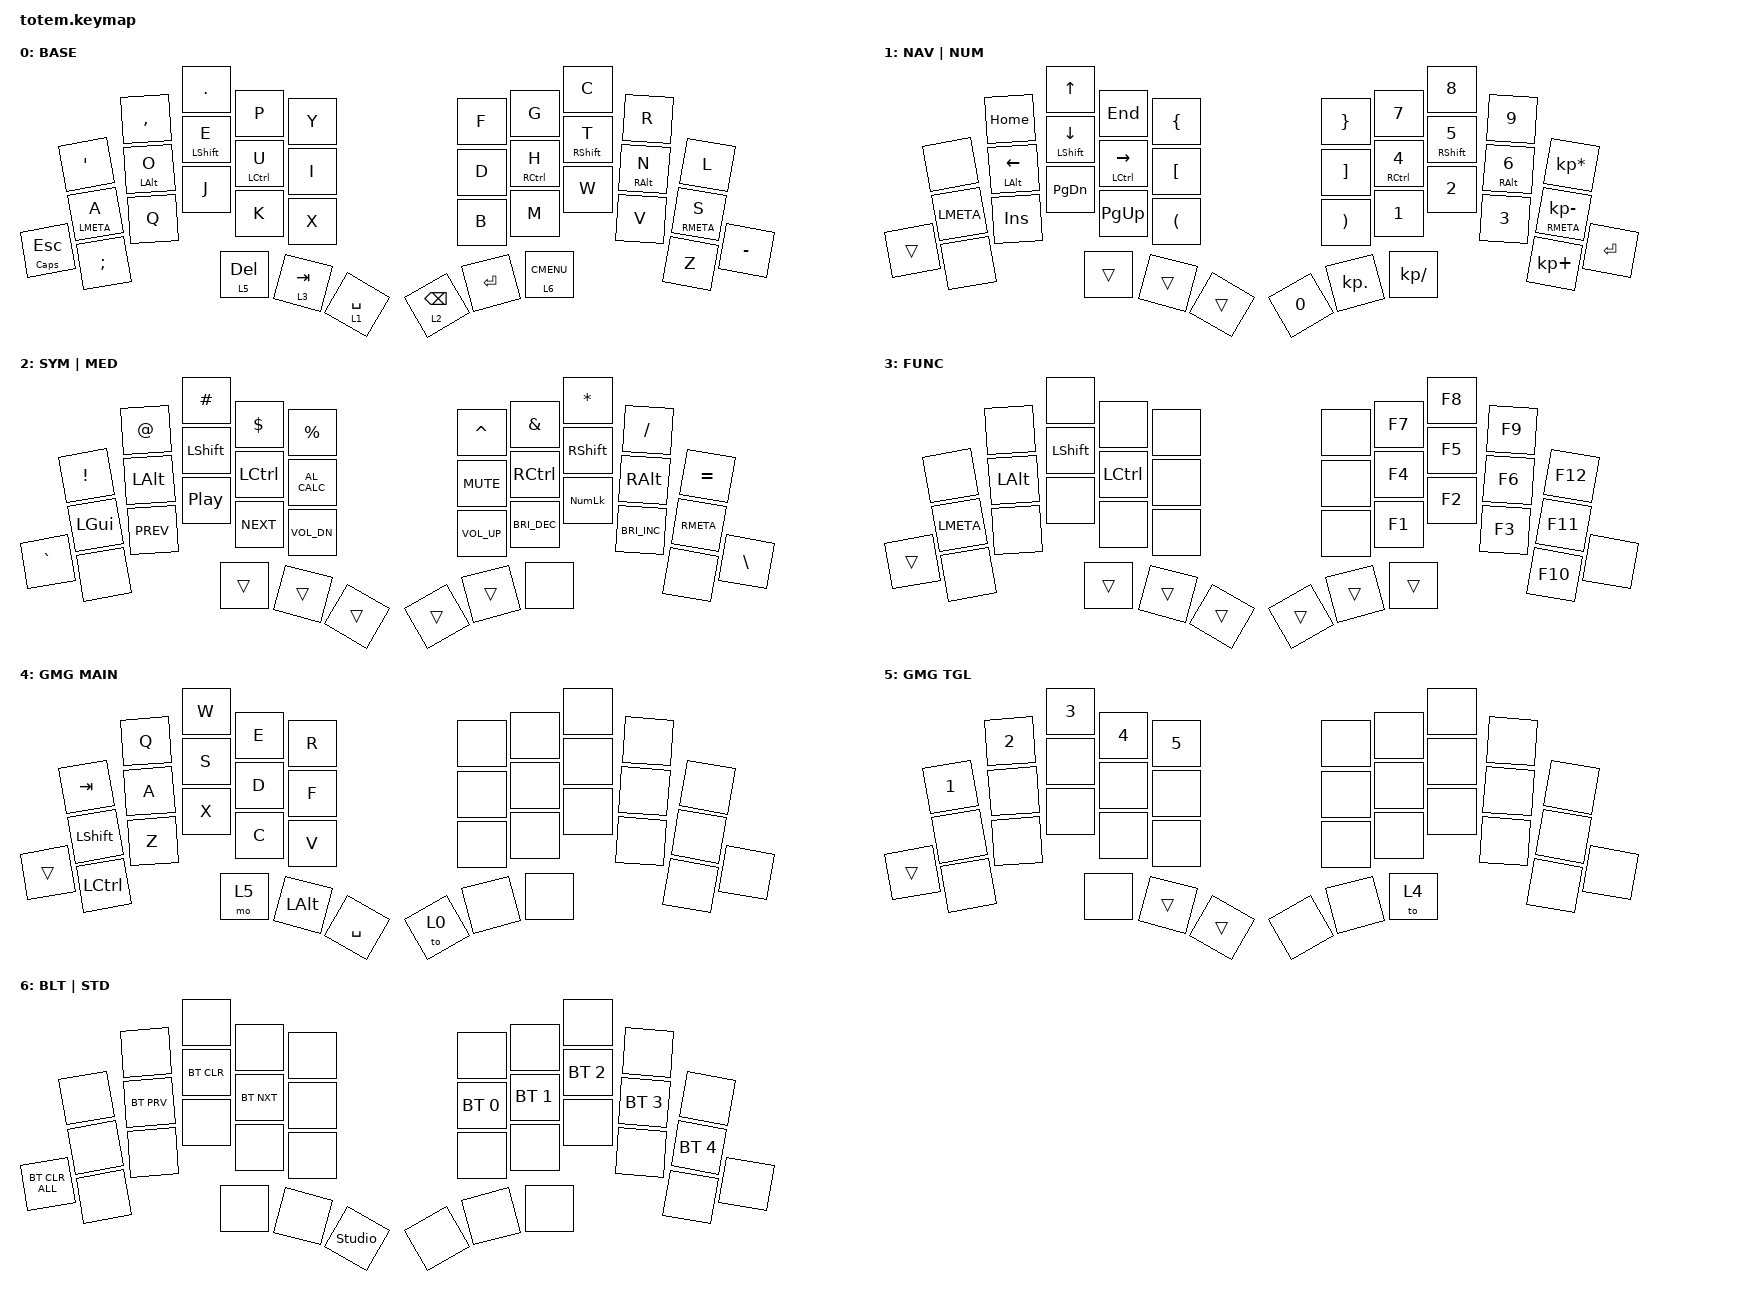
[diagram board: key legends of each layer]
//
//                                                        ▀▀▀▀▀     ▀▀▀▀▀          ▀▀█▀▀
//                                                        ▄▀▀▀▄  ▄  ▄▀▀▀▄  ▄  ▄▀▀▀▄  █  ▄▀▀▀▄
//                                                        █   █  █  █   █  █  █   █  █  █   █
//                                                         ▀▀▀   █   ▀▀▀   █   ▀▀▀   ▀   ▀▀▀
//                                                               █      ▄▄▄█▄▄▄    █   █  
//                                                               ▀      █  █  █     █▄█
//                                                             ▀▀▀▀▀    █  █  █      ▀
//                                                                      ▀  ▀  ▀
//
// ▄▄▄▄▄▄▄▄▄▄▄▄▄▄▄▄▄▄▄▄▄▄▄▄▄▄▄▄▄▄▄▄▄▄▄▄▄▄▄▄▄▄▄▄▄▄▄▄▄▄▄▄▄▄▄▄▄▄▄▄▄▄▄▄▄▄▄▄▄▄▄▄▄▄▄▄▄▄▄▄▄▄▄▄▄▄▄▄▄▄▄▄▄▄▄▄▄▄▄▄▄▄▄▄▄▄▄▄▄▄▄▄▄▄▄▄▄▄▄▄▄▄▄▄▄▄▄▄▄▄▄▄▄▄▄▄▄▄▄▄▄▄▄▄▄▄▄▄▄

#include <behaviors.dtsi>
#include <dt-bindings/zmk/bt.h>
#include <dt-bindings/zmk/keys.h>

#define BASE 0
#define NAV  1
#define SYM  2
#define ADJ  3
#define TVP1 4
#define TVP2 5

&mt {
    flavor = "tap-preferred";
    tapping-term-ms = <150>;
};

/ {
    combos { compatible = "zmk,combos"; };

    keymap {
        compatible = "zmk,keymap";

        // ▄▄▄▄▄▄▄▄▄▄▄▄▄▄▄▄▄▄▄▄▄▄▄▄▄▄▄▄▄▄▄▄▄▄▄▄▄▄▄▄▄▄▄▄▄▄▄▄▄▄▄▄▄▄▄▄▄▄▄▄▄▄▄▄▄▄▄▄▄▄▄▄▄▄▄▄▄▄▄▄▄▄▄▄▄▄▄▄▄▄▄▄▄▄▄▄▄▄▄▄▄▄▄▄▄▄▄▄▄▄▄▄▄▄▄▄▄▄▄▄▄▄▄▄▄▄▄▄▄▄▄▄▄▄▄▄▄▄▄▄▄▄▄▄▄▄▄▄▄

        base_layer {
            // ┏━━━━━━━━━━━━━━━━━━━━━━━━━━━━━━━━━━━━━━━┓

            label = "BASE";

            // ┗━━━━━━━━━━━━━━━━━━━━━━━━━━━━━━━━━━━━━━━┛
            //             ┏━━━━━━━━━━━┳━━━━━━━━━━━┳━━━━━━━━━━━┳━━━━━━━━━━━┳━━━━━━━━━━━┓   ┏━━━━━━━━━━━┳━━━━━━━━━━━┳━━━━━━━━━━━┳━━━━━━━━━━━┳━━━━━━━━━━━┓
            //             ┃     Q     ┃     W     ┃     F     ┃     P     ┃     G     ┃   ┃     J     ┃     L     ┃     U     ┃     Y     ┃     ;     ┃
            //             ┣━━━━━━━━━━━╋━━━━━━━━━━━╋━━━━━━━━━━━╋━━━━━━━━━━━╋━━━━━━━━━━━┫   ┣━━━━━━━━━━━╋━━━━━━━━━━━╋━━━━━━━━━━━╋━━━━━━━━━━━╋━━━━━━━━━━━┫
            //             ┃     A     ┃     R     ┃     S     ┃     T     ┃     D     ┃   ┃     H     ┃     N     ┃     E     ┃     I     ┃     O     ┃
            // ┏━━━━━━━━━━━╋━━━━━━━━━━━╋━━━━━━━━━━━╋━━━━━━━━━━━╋━━━━━━━━━━━╋━━━━━━━━━━━┫   ┣━━━━━━━━━━━╋━━━━━━━━━━━╋━━━━━━━━━━━╋━━━━━━━━━━━╋━━━━━━━━━━━╋━━━━━━━━━━━┓
            // ┃     Q     ┃     Z     ┃     X     ┃     C     ┃     V     ┃     B     ┃   ┃     K     ┃     M     ┃     ,     ┃     .     ┃     /     ┃     \     ┃
            // ┗━━━━━━━━━━━┻━━━━━━━━━━━┻━━━━━━━━━━━╋━━━━━━━━━━━╋━━━━━━━━━━━╋━━━━━━━━━━━┫   ┣━━━━━━━━━━━╋━━━━━━━━━━━╋━━━━━━━━━━━╋━━━━━━━━━━━┻━━━━━━━━━━━┻━━━━━━━━━━━┛
            //                                     ┃    DEL    ┃    TAB    ┃    SPC    ┃   ┃   ENTER   ┃           ┃   BSPC    ┃
            //                                     ┗━━━━━━━━━━━┻━━━━━━━━━━━┻━━━━━━━━━━━┛   ┗━━━━━━━━━━━┻━━━━━━━━━━━┻━━━━━━━━━━━┛

            bindings = <
              &kp SQT      &kp COMMA   &kp DOT      &kp P        &kp Y          &kp F       &kp G        &kp C          &kp R       &kp L
              &mt LMETA A  &mt LALT O  &mt LSHFT E  &mt LCTRL U  &kp I          &kp D       &mt RCTRL H  &mt RSHIFT T   &mt RALT N  &mt RMETA S
&mt CLCK ESC  &kp SEMI     &kp Q       &kp J        &kp K        &kp X          &kp B       &kp M        &kp W          &kp V       &kp Z        &kp MINUS
                                       &lt 5 DEL    &lt 3 TAB    &lt 1 SPACE    &lt 2 BSPC  &kp ENTER    &lt 6 K_CMENU
            >;
        };

        // ▄▄▄▄▄▄▄▄▄▄▄▄▄▄▄▄▄▄▄▄▄▄▄▄▄▄▄▄▄▄▄▄▄▄▄▄▄▄▄▄▄▄▄▄▄▄▄▄▄▄▄▄▄▄▄▄▄▄▄▄▄▄▄▄▄▄▄▄▄▄▄▄▄▄▄▄▄▄▄▄▄▄▄▄▄▄▄▄▄▄▄▄▄▄▄▄▄▄▄▄▄▄▄▄▄▄▄▄▄▄▄▄▄▄▄▄▄▄▄▄▄▄▄▄▄▄▄▄▄▄▄▄▄▄▄▄▄▄▄▄▄▄▄▄▄▄▄▄▄

        nav_num_layer {
            // ┏━━━━━━━━━━━━━━━━━━━━━━━━━━━━━━━━━━━━━━━┓

            label = "NAV | NUM";

            // ┗━━━━━━━━━━━━━━━━━━━━━━━━━━━━━━━━━━━━━━━┛
            //             ┏━━━━━━━━━━━┳━━━━━━━━━━━┳━━━━━━━━━━━┳━━━━━━━━━━━┳━━━━━━━━━━━┓   ┏━━━━━━━━━━━┳━━━━━━━━━━━┳━━━━━━━━━━━┳━━━━━━━━━━━┳━━━━━━━━━━━┓
            //             ┃           ┃           ┃     UP    ┃           ┃     {     ┃   ┃     }     ┃     7     ┃     8     ┃     9     ┃     +     ┃
            //             ┣━━━━━━━━━━━╋━━━━━━━━━━━╋━━━━━━━━━━━╋━━━━━━━━━━━╋━━━━━━━━━━━┫   ┣━━━━━━━━━━━╋━━━━━━━━━━━╋━━━━━━━━━━━╋━━━━━━━━━━━╋━━━━━━━━━━━┫
            //             ┃   SHIFT   ┃   LEFT    ┃    DOWN   ┃   RIGHT   ┃     [     ┃   ┃     ]     ┃     4     ┃     5     ┃     6     ┃     -     ┃
            // ┏━━━━━━━━━━━╋━━━━━━━━━━━╋━━━━━━━━━━━╋━━━━━━━━━━━╋━━━━━━━━━━━╋━━━━━━━━━━━┫   ┣━━━━━━━━━━━╋━━━━━━━━━━━╋━━━━━━━━━━━╋━━━━━━━━━━━╋━━━━━━━━━━━╋━━━━━━━━━━━┓
            // ┃           ┃           ┃   P UP    ┃  C LOCK   ┃  P DOWN   ┃     (     ┃   ┃     )     ┃     1     ┃     2     ┃     3     ┃     *     ┃           ┃
            // ┗━━━━━━━━━━━┻━━━━━━━━━━━┻━━━━━━━━━━━╋━━━━━━━━━━━╋━━━━━━━━━━━╋━━━━━━━━━━━┫   ┣━━━━━━━━━━━╋━━━━━━━━━━━╋━━━━━━━━━━━╋━━━━━━━━━━━┻━━━━━━━━━━━┻━━━━━━━━━━━┛
            //                                     ┃           ┃    TAB    ┃    SPC    ┃   ┃    DEL    ┃     0     ┃           ┃
            //                                     ┗━━━━━━━━━━━┻━━━━━━━━━━━┻━━━━━━━━━━━┛   ┗━━━━━━━━━━━┻━━━━━━━━━━━┻━━━━━━━━━━━┛

            bindings = <
        &none      &kp HOME       &kp UP           &kp END          &kp LEFT_BRACE          &kp RIGHT_BRACE        &kp N7        &kp N8         &kp N9       &kp KP_ASTERISK
        &kp LMETA  &mt LALT LEFT  &mt LSHIFT DOWN  &mt LCTRL RIGHT  &kp LBKT                &kp RBKT               &mt RCTRL N4  &mt RSHIFT N5  &mt RALT N6  &mt RMETA KP_MINUS
&trans  &none      &kp INSERT     &kp PG_DN        &kp PG_UP        &kp LEFT_PARENTHESIS    &kp RIGHT_PARENTHESIS  &kp N1        &kp N2         &kp N3       &kp KP_PLUS         &kp RET
                                  &trans           &trans           &trans                  &kp N0                 &kp KP_DOT    &kp KP_SLASH
            >;
        };

        // ▄▄▄▄▄▄▄▄▄▄▄▄▄▄▄▄▄▄▄▄▄▄▄▄▄▄▄▄▄▄▄▄▄▄▄▄▄▄▄▄▄▄▄▄▄▄▄▄▄▄▄▄▄▄▄▄▄▄▄▄▄▄▄▄▄▄▄▄▄▄▄▄▄▄▄▄▄▄▄▄▄▄▄▄▄▄▄▄▄▄▄▄▄▄▄▄▄▄▄▄▄▄▄▄▄▄▄▄▄▄▄▄▄▄▄▄▄▄▄▄▄▄▄▄▄▄▄▄▄▄▄▄▄▄▄▄▄▄▄▄▄▄▄▄▄▄▄▄▄

        sym_media_layer {
            // ┏━━━━━━━━━━━━━━━━━━━━━━━━━━━━━━━━━━━━━━━┓

            label = "SYM | MED";

            // ┗━━━━━━━━━━━━━━━━━━━━━━━━━━━━━━━━━━━━━━━┛
            //             ┏━━━━━━━━━━━┳━━━━━━━━━━━┳━━━━━━━━━━━┳━━━━━━━━━━━┳━━━━━━━━━━━┓   ┏━━━━━━━━━━━┳━━━━━━━━━━━┳━━━━━━━━━━━┳━━━━━━━━━━━┳━━━━━━━━━━━┓
            //             ┃     !     ┃     @     ┃     #     ┃     $     ┃     %     ┃   ┃     ˆ     ┃     &     ┃     Ü     ┃     '     ┃     "     ┃
            //             ┣━━━━━━━━━━━╋━━━━━━━━━━━╋━━━━━━━━━━━╋━━━━━━━━━━━╋━━━━━━━━━━━┫   ┣━━━━━━━━━━━╋━━━━━━━━━━━╋━━━━━━━━━━━╋━━━━━━━━━━━╋━━━━━━━━━━━┫
            //             ┃     Ä     ┃           ┃    SZ     ┃           ┃           ┃   ┃   MUTE    ┃   YEN     ┃   EURO    ┃  POUND    ┃     Ö     ┃
            // ┏━━━━━━━━━━━╋━━━━━━━━━━━╋━━━━━━━━━━━╋━━━━━━━━━━━╋━━━━━━━━━━━╋━━━━━━━━━━━┫   ┣━━━━━━━━━━━╋━━━━━━━━━━━╋━━━━━━━━━━━╋━━━━━━━━━━━╋━━━━━━━━━━━╋━━━━━━━━━━━┓
            // ┃           ┃  EMAIL1   ┃  EMAIL2   ┃           ┃           ┃           ┃   ┃   VOL-    ┃   VOL+    ┃   LAST    ┃   NEXT    ┃     \     ┃           ┃
            // ┗━━━━━━━━━━━┻━━━━━━━━━━━┻━━━━━━━━━━━╋━━━━━━━━━━━╋━━━━━━━━━━━╋━━━━━━━━━━━┫   ┣━━━━━━━━━━━╋━━━━━━━━━━━╋━━━━━━━━━━━╋━━━━━━━━━━━┻━━━━━━━━━━━┻━━━━━━━━━━━┛
            //                                     ┃           ┃    GIF    ┃    ADJ    ┃   ┃           ┃           ┃           ┃
            //                                     ┗━━━━━━━━━━━┻━━━━━━━━━━━┻━━━━━━━━━━━┛   ┗━━━━━━━━━━━┻━━━━━━━━━━━┻━━━━━━━━━━━┛

            bindings = <
           &kp EXCL  &kp AT      &kp HASH   &kp DLLR    &kp PRCNT        &kp CARET     &kp AMPS              &kp ASTRK       &kp FSLH              &kp EQUAL
           &kp LGUI  &kp LALT    &kp LSHFT  &kp LCTRL   &kp C_AL_CALC    &kp C_MUTE    &kp RCTRL             &kp RSHIFT      &kp RALT              &kp RMETA
&kp GRAVE  &none     &kp C_PREV  &kp C_PP   &kp C_NEXT  &kp C_VOL_DN     &kp C_VOL_UP  &kp C_BRIGHTNESS_DEC  &kp KP_NUMLOCK  &kp C_BRIGHTNESS_INC  &none      &kp BACKSLASH
                                 &trans     &trans      &trans           &trans        &trans                &none
            >;
        };

        // ▄▄▄▄▄▄▄▄▄▄▄▄▄▄▄▄▄▄▄▄▄▄▄▄▄▄▄▄▄▄▄▄▄▄▄▄▄▄▄▄▄▄▄▄▄▄▄▄▄▄▄▄▄▄▄▄▄▄▄▄▄▄▄▄▄▄▄▄▄▄▄▄▄▄▄▄▄▄▄▄▄▄▄▄▄▄▄▄▄▄▄▄▄▄▄▄▄▄▄▄▄▄▄▄▄▄▄▄▄▄▄▄▄▄▄▄▄▄▄▄▄▄▄▄▄▄▄▄▄▄▄▄▄▄▄▄▄▄▄▄▄▄▄▄▄▄▄▄▄

        func_layer {
            // ┏━━━━━━━━━━━━━━━━━━━━━━━━━━━━━━━━━━━━━━━┓

            label = "FUNC";

            // ┗━━━━━━━━━━━━━━━━━━━━━━━━━━━━━━━━━━━━━━━┛
            //             ┏━━━━━━━━━━━┳━━━━━━━━━━━┳━━━━━━━━━━━┳━━━━━━━━━━━┳━━━━━━━━━━━┓   ┏━━━━━━━━━━━┳━━━━━━━━━━━┳━━━━━━━━━━━┳━━━━━━━━━━━┳━━━━━━━━━━━┓
            //             ┃   RESET   ┃ BT CLEAR  ┃  OUT TOG  ┃           ┃           ┃   ┃           ┃    F7     ┃    F8     ┃    F9     ┃    F12    ┃
            //             ┣━━━━━━━━━━━╋━━━━━━━━━━━╋━━━━━━━━━━━╋━━━━━━━━━━━╋━━━━━━━━━━━┫   ┣━━━━━━━━━━━╋━━━━━━━━━━━╋━━━━━━━━━━━╋━━━━━━━━━━━╋━━━━━━━━━━━┫
            //             ┃ BOOTLOAD  ┃ BT NEXT   ┃           ┃           ┃           ┃   ┃           ┃    F4     ┃    F5     ┃    F6     ┃    F11    ┃
            // ┏━━━━━━━━━━━╋━━━━━━━━━━━╋━━━━━━━━━━━╋━━━━━━━━━━━╋━━━━━━━━━━━╋━━━━━━━━━━━┫   ┣━━━━━━━━━━━╋━━━━━━━━━━━╋━━━━━━━━━━━╋━━━━━━━━━━━╋━━━━━━━━━━━╋━━━━━━━━━━━┓
            // ┃           ┃           ┃ BT PREV   ┃           ┃           ┃           ┃   ┃           ┃    F1     ┃    F2     ┃    F3     ┃    F10    ┃           ┃
            // ┗━━━━━━━━━━━┻━━━━━━━━━━━┻━━━━━━━━━━━╋━━━━━━━━━━━╋━━━━━━━━━━━╋━━━━━━━━━━━┫   ┣━━━━━━━━━━━╋━━━━━━━━━━━╋━━━━━━━━━━━╋━━━━━━━━━━━┻━━━━━━━━━━━┻━━━━━━━━━━━┛
            //                                     ┃           ┃           ┃           ┃   ┃           ┃           ┃           ┃
            //                                     ┗━━━━━━━━━━━┻━━━━━━━━━━━┻━━━━━━━━━━━┛   ┗━━━━━━━━━━━┻━━━━━━━━━━━┻━━━━━━━━━━━┛

            bindings = <
        &none      &none     &none       &none      &none     &none   &kp F7  &kp F8  &kp F9  &kp F12
        &kp LMETA  &kp LALT  &kp LSHIFT  &kp LCTRL  &none     &none   &kp F4  &kp F5  &kp F6  &kp F11
&trans  &none      &none     &none       &none      &none     &none   &kp F1  &kp F2  &kp F3  &kp F10  &none
                             &trans      &trans     &trans    &trans  &trans  &trans
            >;
        };

        // ▄▄▄▄▄▄▄▄▄▄▄▄▄▄▄▄▄▄▄▄▄▄▄▄▄▄▄▄▄▄▄▄▄▄▄▄▄▄▄▄▄▄▄▄▄▄▄▄▄▄▄▄▄▄▄▄▄▄▄▄▄▄▄▄▄▄▄▄▄▄▄▄▄▄▄▄▄▄▄▄▄▄▄▄▄▄▄▄▄▄▄▄▄▄▄▄▄▄▄▄▄▄▄▄▄▄▄▄▄▄▄▄▄▄▄▄▄▄▄▄▄▄▄▄▄▄▄▄▄▄▄▄▄▄▄▄▄▄▄▄▄▄▄▄▄▄▄▄▄

        gaming_layer {
            // ┏━━━━━━━━━━━━━━━━━━━━━━━━━━━━━━━━━━━━━━━┓

            label = "GMG MAIN";

            // ┗━━━━━━━━━━━━━━━━━━━━━━━━━━━━━━━━━━━━━━━┛
            //             ┏━━━━━━━━━━━┳━━━━━━━━━━━┳━━━━━━━━━━━┳━━━━━━━━━━━┳━━━━━━━━━━━┓   ┏━━━━━━━━━━━┳━━━━━━━━━━━┳━━━━━━━━━━━┳━━━━━━━━━━━┳━━━━━━━━━━━┓
            //             ┃ NEXT FILE ┃ MARK IN   ┃ ROTATE    ┃ MARK OUT  ┃ SHOW SNAP ┃   ┃           ┃           ┃           ┃           ┃           ┃
            //             ┣━━━━━━━━━━━╋━━━━━━━━━━━╋━━━━━━━━━━━╋━━━━━━━━━━━╋━━━━━━━━━━━┫   ┣━━━━━━━━━━━╋━━━━━━━━━━━╋━━━━━━━━━━━╋━━━━━━━━━━━╋━━━━━━━━━━━┫
            //             ┃ TVP II    ┃ LEFT      ┃ PAN       ┃ RIGHT     ┃ PLAY/FLIP ┃   ┃           ┃           ┃           ┃           ┃           ┃
            // ┏━━━━━━━━━━━╋━━━━━━━━━━━╋━━━━━━━━━━━╋━━━━━━━━━━━╋━━━━━━━━━━━╋━━━━━━━━━━━┫   ┣━━━━━━━━━━━╋━━━━━━━━━━━╋━━━━━━━━━━━╋━━━━━━━━━━━╋━━━━━━━━━━━╋━━━━━━━━━━━┓
            // ┃ FULLSCR   ┃ SHIFT     ┃ COPY      ┃ DELETE    ┃ PASTE     ┃ IMG MARK  ┃   ┃           ┃           ┃           ┃           ┃           ┃           ┃
            // ┗━━━━━━━━━━━┻━━━━━━━━━━━┻━━━━━━━━━━━╋━━━━━━━━━━━╋━━━━━━━━━━━╋━━━━━━━━━━━┫   ┣━━━━━━━━━━━╋━━━━━━━━━━━╋━━━━━━━━━━━╋━━━━━━━━━━━┻━━━━━━━━━━━┻━━━━━━━━━━━┛
            //                                     ┃           ┃ UNDO/SAVE ┃  SEL/MOV  ┃   ┃           ┃           ┃           ┃
            //                                     ┗━━━━━━━━━━━┻━━━━━━━━━━━┻━━━━━━━━━━━┛   ┗━━━━━━━━━━━┻━━━━━━━━━━━┻━━━━━━━━━━━┛

            bindings = <
        &kp TAB    &kp Q  &kp W  &kp E     &kp R        &none  &none  &none  &none  &none
        &kp LSHFT  &kp A  &kp S  &kp D     &kp F        &none  &none  &none  &none  &none
&trans  &kp LCTRL  &kp Z  &kp X  &kp C     &kp V        &none  &none  &none  &none  &none  &none
                          &mo 5  &kp LALT  &kp SPACE    &to 0  &none  &none
            >;
        };

        // ▄▄▄▄▄▄▄▄▄▄▄▄▄▄▄▄▄▄▄▄▄▄▄▄▄▄▄▄▄▄▄▄▄▄▄▄▄▄▄▄▄▄▄▄▄▄▄▄▄▄▄▄▄▄▄▄▄▄▄▄▄▄▄▄▄▄▄▄▄▄▄▄▄▄▄▄▄▄▄▄▄▄▄▄▄▄▄▄▄▄▄▄▄▄▄▄▄▄▄▄▄▄▄▄▄▄▄▄▄▄▄▄▄▄▄▄▄▄▄▄▄▄▄▄▄▄▄▄▄▄▄▄▄▄▄▄▄▄▄▄▄▄▄▄▄▄▄▄▄

        gaming_layer_toggle {
            // ┏━━━━━━━━━━━━━━━━━━━━━━━━━━━━━━━━━━━━━━━┓

            label = "GMG TGL";

            // ┗━━━━━━━━━━━━━━━━━━━━━━━━━━━━━━━━━━━━━━━┛
            //             ┏━━━━━━━━━━━┳━━━━━━━━━━━┳━━━━━━━━━━━┳━━━━━━━━━━━┳━━━━━━━━━━━┓   ┏━━━━━━━━━━━┳━━━━━━━━━━━┳━━━━━━━━━━━┳━━━━━━━━━━━┳━━━━━━━━━━━┓
            //             ┃ SOLO      ┃ TOGGLE IN ┃ RESET ROT ┃ TOGGLE OUT┃ TAKE SNAP ┃   ┃           ┃           ┃           ┃           ┃           ┃
            //             ┣━━━━━━━━━━━╋━━━━━━━━━━━╋━━━━━━━━━━━╋━━━━━━━━━━━╋━━━━━━━━━━━┫   ┣━━━━━━━━━━━╋━━━━━━━━━━━╋━━━━━━━━━━━╋━━━━━━━━━━━╋━━━━━━━━━━━┫
            //             ┃ ---       ┃ LAST KEY  ┃ NEW KEY   ┃ NEXT KEY  ┃ ENTER     ┃   ┃           ┃           ┃           ┃           ┃           ┃
            // ┏━━━━━━━━━━━╋━━━━━━━━━━━╋━━━━━━━━━━━╋━━━━━━━━━━━╋━━━━━━━━━━━╋━━━━━━━━━━━┫   ┣━━━━━━━━━━━╋━━━━━━━━━━━╋━━━━━━━━━━━╋━━━━━━━━━━━╋━━━━━━━━━━━╋━━━━━━━━━━━┓
            // ┃           ┃ FULLSCR   ┃ CPY2BRUSH ┃ DEL HEAD  ┃ PSTinPLACE┃ BOOK MARK ┃   ┃           ┃           ┃           ┃           ┃           ┃           ┃
            // ┗━━━━━━━━━━━┻━━━━━━━━━━━┻━━━━━━━━━━━╋━━━━━━━━━━━╋━━━━━━━━━━━╋━━━━━━━━━━━┫   ┣━━━━━━━━━━━╋━━━━━━━━━━━╋━━━━━━━━━━━╋━━━━━━━━━━━┻━━━━━━━━━━━┻━━━━━━━━━━━┛
            //                                     ┃           ┃ REDO/SAV1 ┃TRANS/WARP ┃   ┃           ┃           ┃           ┃
            //                                     ┗━━━━━━━━━━━┻━━━━━━━━━━━┻━━━━━━━━━━━┛   ┗━━━━━━━━━━━┻━━━━━━━━━━━┻━━━━━━━━━━━┛

            bindings = <
        &kp N1  &kp N2  &kp N3  &kp N4  &kp N5    &none  &none  &none  &none  &none
        &none   &none   &none   &none   &none     &none  &none  &none  &none  &none
&trans  &none   &none   &none   &none   &none     &none  &none  &none  &none  &none  &none
                        &none   &trans  &trans    &none  &none  &to 4
            >;
        };

        bluetooth_studio_layer {
            bindings = <
                &none  &none       &none       &none       &none             &none         &none         &none         &none         &none
                &none  &bt BT_PRV  &bt BT_CLR  &bt BT_NXT  &none             &bt BT_SEL 0  &bt BT_SEL 1  &bt BT_SEL 2  &bt BT_SEL 3  &bt BT_SEL 4
&bt BT_CLR_ALL  &none  &none       &none       &none       &none             &none         &none         &none         &none         &none         &none
                                   &none       &none       &studio_unlock    &none         &none         &none
            >;

            label = "BLT | STD";
        };
    };
};
